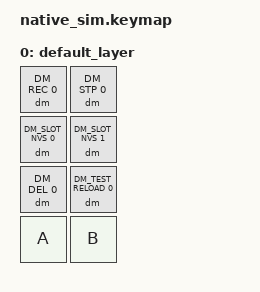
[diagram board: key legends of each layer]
#include <dt-bindings/zmk/keys.h>
#include <behaviors.dtsi>
#include <dt-bindings/zmk/kscan_mock.h>
#include <behaviors/dynamic_macro.dtsi>
#include <dt-bindings/zmk/dynamic_macros.h>

&kscan {
    rows = <4>;
    columns = <2>;
    exit-after;
    events = <
        /* REC */
        ZMK_MOCK_PRESS(0,0,10)
        ZMK_MOCK_RELEASE(0,0,10)
        /* A (recorded) */
        ZMK_MOCK_PRESS(3,0,10)
        ZMK_MOCK_RELEASE(3,0,10)
        /* B (recorded) */
        ZMK_MOCK_PRESS(3,1,10)
        ZMK_MOCK_RELEASE(3,1,10)
        /* STP */
        ZMK_MOCK_PRESS(0,1,10)
        ZMK_MOCK_RELEASE(0,1,10)
        /* SLOT_NVS 0 (assign) */
        ZMK_MOCK_PRESS(1,0,500)
        ZMK_MOCK_RELEASE(1,0,10)
        /* TEST_RELOAD (flush NVS, zero RAM, reload from NVS) */
        ZMK_MOCK_PRESS(2,1,10)
        ZMK_MOCK_RELEASE(2,1,10)
        /* SLOT_NVS 0 (play restored macro) */
        ZMK_MOCK_PRESS(1,0,2000)
        ZMK_MOCK_RELEASE(1,0,10)
    >;
};

/ {
    keymap {
        compatible = "zmk,keymap";
        default_layer {
            bindings = <
                &dm DM_REC 0           &dm DM_STP 0
                &dm DM_SLOT_NVS 0      &dm DM_SLOT_NVS 1
                &dm DM_DEL 0           &dm DM_TEST_RELOAD 0
                &kp A                  &kp B
            >;
        };
    };
};
